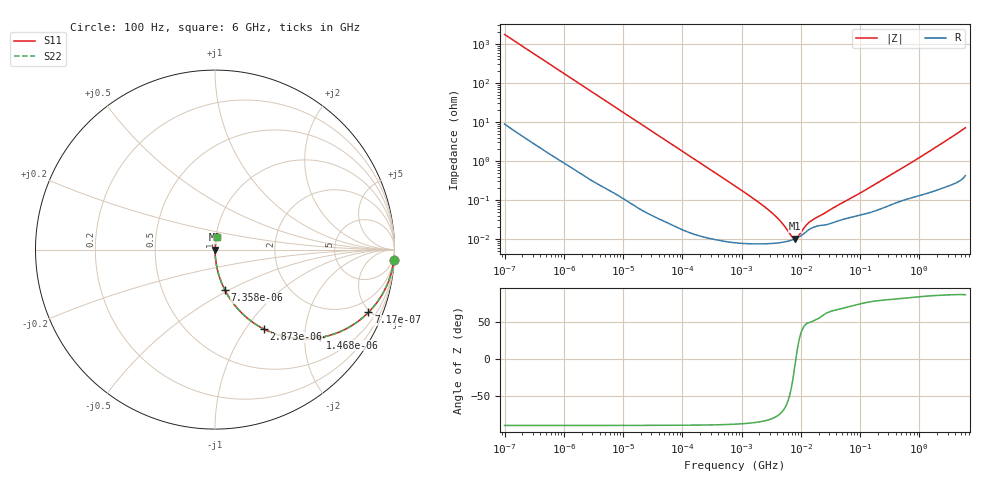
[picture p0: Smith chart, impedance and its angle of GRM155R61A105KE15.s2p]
!Murata Part Number: GRM155R61A105KE15
!These Parameters are Measured in Series Mode Connection
!Data Generated on Mar 30, 2021
!  o--ll--o
!Port1  Port2
!  o------o
!Operation Temp=25[degC], DC Bias Voltage=0[V]
!Freq. Start=100[Hz] Stop=6[GHz] 401[Steps]
# Hz S RI R 50
!Freq.(Hz) S11(Real) S11(Imag) S21(Real) S21(Imag) S12(Real) S12(Imag) S22(Real) S22(Imag)
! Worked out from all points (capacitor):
!   401 points, 100 Hz to 6 GHz, reference 50 ohm
!   read as one part in series: C = 914 nF near 109 Hz
!   lowest |Z| = 10.2 mohm at 7.948 MHz (marker M1)
!   series resonance near 8.246 MHz, so ESL is about 410 pH
!   S11 on the Smith chart (normalised r, x): 100 Hz: 1, -35; 717 Hz: 1.02, -4.88; 1.468 kHz: 1.01, -2.39; 2.873 kHz: 1.01, -1.22; 7.358 kHz: 1.00, -0.48; 6 GHz: 1.01, +0.14
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100  0.9964 -0.0573  0.00358 0.0573  0.00358 0.0573  0.9964 -0.0573
268  0.9763 -0.1497  0.0237 0.1497  0.0237 0.1497  0.9763 -0.1497
458  0.9346 -0.2447  0.0654 0.2447  0.0654 0.2447  0.9346 -0.2447
717  0.855 -0.3496  0.145 0.3496  0.145 0.3496  0.855 -0.3496
1026  0.7436 -0.4341  0.2564 0.4341  0.2564 0.4341  0.7436 -0.4341
1468  0.5877 -0.4897  0.4123 0.4897  0.4123 0.4897  0.5877 -0.4897
2008  0.4336 -0.493  0.5664 0.493  0.5664 0.493  0.4336 -0.493
2873  0.2734 -0.4431  0.7266 0.4431  0.7266 0.4431  0.2734 -0.4431
4496  0.1343 -0.3382  0.8657 0.3382  0.8657 0.3382  0.1343 -0.3382
7358  0.0556 -0.2261  0.9444 0.2261  0.9444 0.2261  0.0556 -0.2261
15752  0.0131 -0.1108  0.9869 0.1108  0.9869 0.1108  0.0131 -0.1108
40335  0.00226 -0.0439  0.9977 0.0439  0.9977 0.0439  0.00226 -0.0439
774597  8.58e-05 -0.0023  0.9999 0.0023  0.9999 0.0023  8.58e-05 -0.0023
3245845  7.74e-05 -0.000467  0.9999 0.000467  0.9999 0.000467  7.74e-05 -0.000467
4643984  8.18e-05 -0.000263  0.9999 0.000263  0.9999 0.000263  8.18e-05 -0.000263
6948629  9.38e-05 -7.44e-05  0.9999 7.44e-05  0.9999 7.44e-05  9.38e-05 -7.44e-05
7947587  0.000101 -1.58e-05  0.9999 1.58e-05  0.9999 1.58e-05  0.000101 -1.58e-05
9090158  0.000111 4.2e-05  0.9999 -4.2e-05  0.9999 -4.2e-05  0.000111 4.2e-05
1.243624e7  0.000156 0.00017  0.9998 -0.00017  0.9998 -0.00017  0.000156 0.00017
1.555665e7  0.000194 0.000236  0.9998 -0.000236  0.9998 -0.000236  0.000194 0.000236
3.124326e8  0.000742 0.00413  0.9993 -0.00413  0.9993 -0.00413  0.000742 0.00413
6e9  0.00915 0.0699  0.9909 -0.0699  0.9909 -0.0699  0.00915 0.0699
